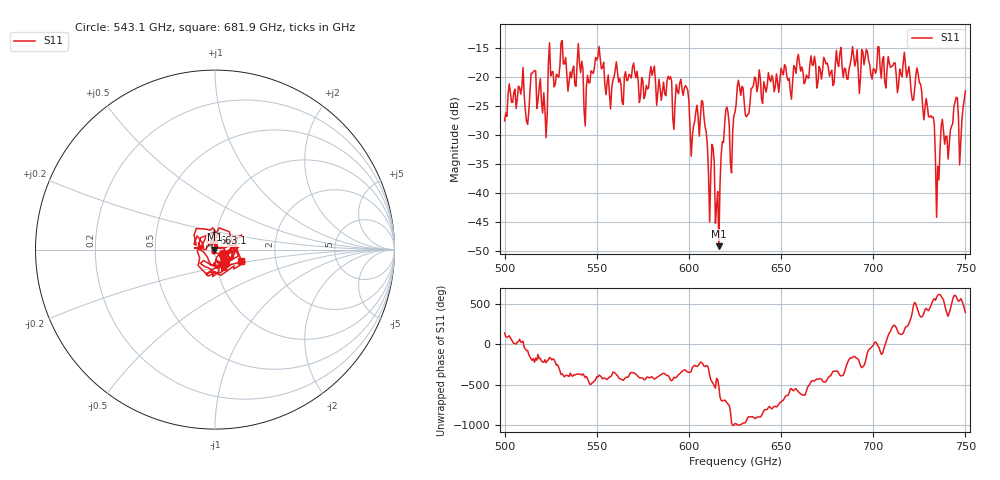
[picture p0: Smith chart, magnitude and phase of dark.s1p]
!Created with skrf (http://scikit-rf.org).
# GHz S MA R 50.0
!freq magS11 angS11
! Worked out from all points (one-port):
!   401 points, 500 GHz to 750 GHz, reference 50 ohm
!   lowest |S11| = -49.2 dB at 616.2 GHz (marker M1), VSWR 1.01, Z = 49.7 - j0.0799 ohm
!   |S11| at or under -10 dB: start of sweep to end of sweep
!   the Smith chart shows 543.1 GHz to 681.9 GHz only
!   S11 on the Smith chart (normalised r, x): 543.1 GHz: 1.09, -0.06; 663.1 GHz: 0.97, +0.18; 681.9 GHz: 1.33, -0.17
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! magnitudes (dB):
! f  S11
! 500 GHz  -27.6
! 508.8 GHz  -23.0
! 512.5 GHz  -28.2
! 515.6 GHz  -19.1
! 521.9 GHz  -25.7
! 525 GHz  -19.8
! 531.2 GHz  -13.7
! 543.1 GHz  -25.9
! 550.6 GHz  -16.5
! 562.5 GHz  -20.2
! 593.8 GHz  -22.4
! 601.9 GHz  -30.2
! 607.5 GHz  -24.3
! 610.6 GHz  -36.7
! 616.2 GHz  -49.2
! 619.4 GHz  -28.3
! 625 GHz  -26.1
! 656.2 GHz  -21.0
! 663.1 GHz  -20.8
! 681.9 GHz  -16.0
! 687.5 GHz  -17.8
! 718.8 GHz  -19.1
! 731.9 GHz  -27.0
! 735 GHz  -35.4
! 737.5 GHz  -27.3
! 745 GHz  -23.5
! 747.5 GHz  -31.4
! 750 GHz  -22.4
